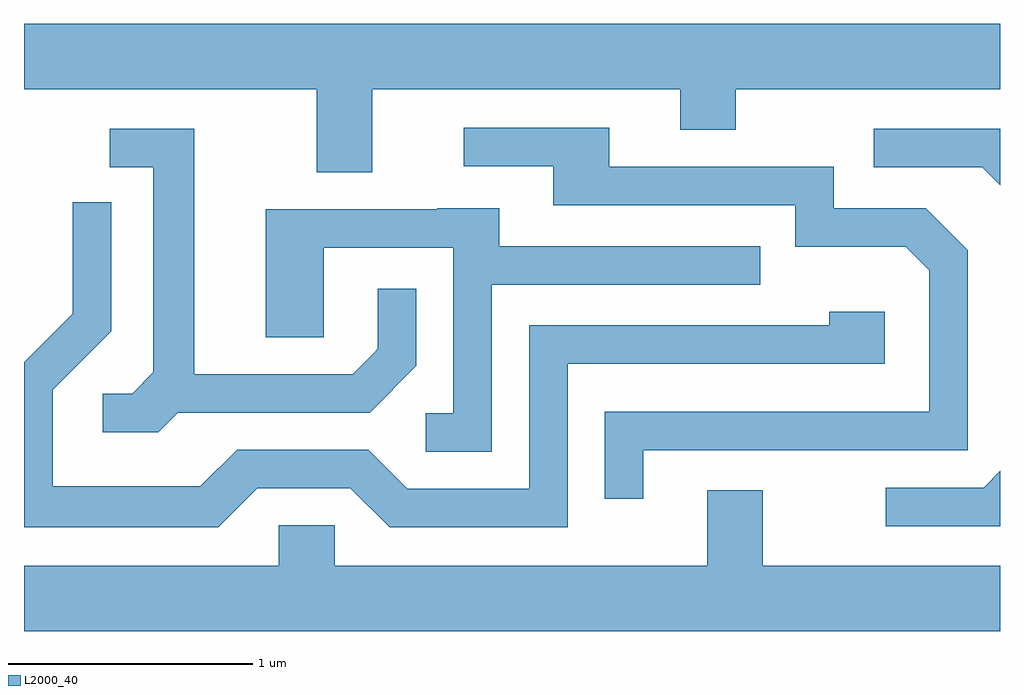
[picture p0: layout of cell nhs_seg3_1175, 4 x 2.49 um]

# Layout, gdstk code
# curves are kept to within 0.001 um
import gdstk
lib = gdstk.Library(unit=1e-6, precision=1e-09)
def P(c, l, *ps):  # polygons
    for p in ps: c.add(gdstk.Polygon(p, *l))
L2000_40 = (2000, 40)

nhs_seg3_1175 = lib.new_cell('nhs_seg3_1175')
P(nhs_seg3_1175, L2000_40, [(221.039,1157.096),(222.301,1157.096),(222.301,1156.931),(222.529,1156.931),(222.529,1157.096),(223.611,1157.096),(223.611,1157.364),(219.611,1157.364),(219.611,1157.096),(220.811,1157.096),(220.811,1156.756),(221.039,1156.756)],
  [(222.149,1155.616),(223.479,1155.616),(223.479,1156.437),(223.307,1156.609),(222.929,1156.609),(222.929,1156.779),(222.009,1156.779),(222.009,1156.939),(221.413,1156.939),(221.413,1156.781),(221.781,1156.781),(221.781,1156.621),(222.771,1156.621),(222.771,1156.451),(223.224,1156.451),(223.321,1156.354),(223.321,1155.774),(221.991,1155.774),(221.991,1155.418),(222.149,1155.418)],
  [(223.611,1156.934),(223.093,1156.934),(223.093,1156.776),(223.539,1156.776),(223.611,1156.704)],
  [(220.242,1155.771),(221.027,1155.771),(221.219,1155.964),(221.219,1156.278),(221.061,1156.278),(221.061,1156.032),(220.959,1155.929),(220.309,1155.929),(220.309,1156.934),(219.963,1156.934),(219.963,1156.776),(220.141,1156.776),(220.141,1155.937),(220.054,1155.849),(219.933,1155.849),(219.933,1155.691),(220.162,1155.691)],
  [(220.567,1155.461),(220.949,1155.461),(221.109,1155.301),(221.839,1155.301),(221.839,1155.971),(223.139,1155.971),(223.139,1156.184),(222.911,1156.184),(222.911,1156.129),(221.681,1156.129),(221.681,1155.459),(221.182,1155.459),(221.022,1155.619),(220.484,1155.619),(220.334,1155.469),(219.729,1155.469),(219.729,1155.864),(219.969,1156.104),(219.969,1156.633),(219.811,1156.633),(219.811,1156.177),(219.611,1155.977),(219.611,1155.301),(220.407,1155.301)],
  [(221.529,1156.296),(222.628,1156.296),(222.628,1156.454),(221.559,1156.454),(221.559,1156.609),(221.305,1156.609),(221.305,1156.604),(220.601,1156.604),(220.601,1156.081),(220.839,1156.081),(220.839,1156.446),(221.371,1156.446),(221.371,1155.769),(221.258,1155.769),(221.258,1155.611),(221.529,1155.611)],
  [(223.611,1155.532),(223.544,1155.464),(223.143,1155.464),(223.143,1155.306),(223.611,1155.306)],
  [(223.611,1155.144),(222.639,1155.144),(222.639,1155.454),(222.411,1155.454),(222.411,1155.144),(220.884,1155.144),(220.884,1155.309),(220.656,1155.309),(220.656,1155.144),(219.611,1155.144),(219.611,1154.876),(223.611,1154.876)])

lib.write_gds('nhs_seg3_1175.gds')
